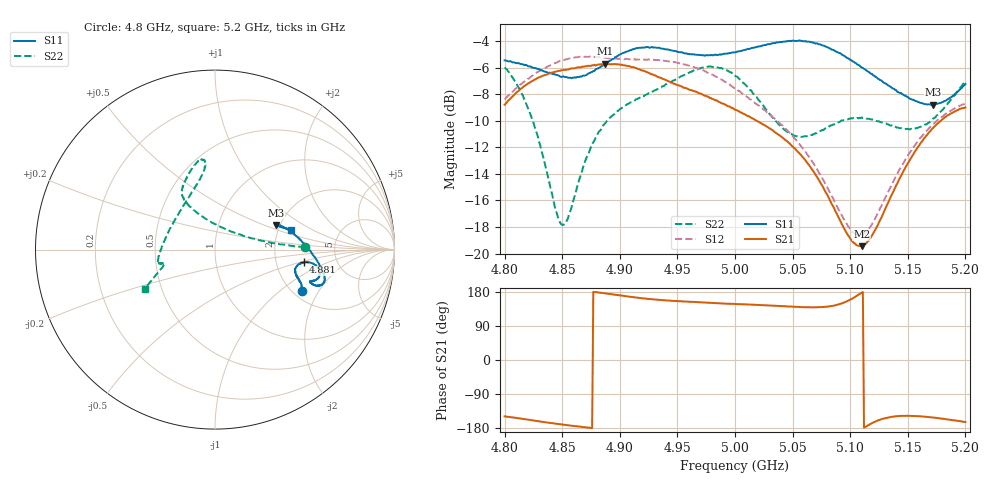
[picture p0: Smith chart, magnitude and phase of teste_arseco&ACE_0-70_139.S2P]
! Network Analyzer HP8722D
! Hewlett-Packard
! Data name: Linha & Wilkinson
! Saver's name: Rodrigo Anjos
! Comments: Teste da utilização de aquisição
! continua pelo VNA HP8722D
! Time and date: 8/5/2025 13:55
!  Frequency  S11  S21  S12  S22
# HZ  S  MA R 50
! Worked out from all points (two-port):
!   401 points, 4.8 GHz to 5.2 GHz, reference 50 ohm
!   highest |S21| = -5.69 dB at 4.887 GHz (marker M1); lowest = -19.4 dB at 5.11 GHz (marker M2)
!   |S21| within 3 dB of the highest: 4.801 GHz to 4.989 GHz (188.2 MHz wide, 3.84 % of centre)
!   lowest |S11| = -8.8 dB at 5.172 GHz (marker M3), VSWR 2.15, Z = 94.9 + j29.9 ohm
!   |S11| at or under -10 dB: nowhere
!   |S22| runs from -17.8 to -5.9 dB; largest |S21 - S12| = 1.1
!   S11 on the Smith chart (normalised r, x): 4.8 GHz: 2.24, -1.43; 4.881 GHz: 2.88, -0.54; 5.2 GHz: 2.33, +0.64
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4.8e9  0.535 -25.3  0.364 -148.8  0.3812 10.6  0.5034 1.6
4.812e9  0.5228 -22.4  0.41 -153.8  0.4277 8.7  0.4241 2.7
4.823e9  0.5058 -20.7  0.4451 -158.7  0.4648 7.5  0.3294 6.2
4.849e9  0.4635 -16.0  0.4908 -170.0  0.5343 3.1  0.1291 58.5
4.855e9  0.4603 -14.4  0.4948 -172.4  0.5418 2.1  0.1359 84.9
4.867e9  0.4651 -11.1  0.5064 -176.5  0.5498 0.5  0.2029 112.4
4.881e9  0.4991 -8.1  0.5159 178.5  0.5508 -0.8  0.2835 120.9
4.887e9  0.5206 -7.7  0.5196 176.0  0.5487 -0.9  0.3089 121.8
4.913e9  0.5915 -11.0  0.5024 165.4  0.5417 -0.6  0.3776 119.0
4.934e9  0.5976 -15.5  0.4625 158.6  0.5366 -1.6  0.4201 113.1
4.975e9  0.5598 -18.7  0.3929 151.3  0.4861 -4.9  0.504 99.2
5e9  0.5743 -19.4  0.3487 147.7  0.42 -5.2  0.4684 96.8
5.017e9  0.5988 -19.4  0.3202 145.7  0.3704 -2.7  0.3969 102.8
5.045e9  0.6322 -17.4  0.2655 141.4  0.2922 3.2  0.2887 133.1
5.067e9  0.6254 -13.5  0.2072 139.0  0.2224 9.4  0.2794 164.5
5.099e9  0.5422 -2.4  0.1159 157.4  0.1255 38.8  0.3227 -169.9
5.11e9  0.5036 2.8  0.1066 177.7  0.1175 60.8  0.3259 -167.0
5.118e9  0.4763 6.6  0.1152 -168.0  0.127 76.2  0.3204 -166.1
5.134e9  0.4286 14.6  0.1591 -151.0  0.1741 94.6  0.3053 -165.8
5.154e9  0.3804 21.0  0.2339 -147.5  0.2491 101.5  0.2944 -164.1
5.172e9  0.3645 22.0  0.2975 -151.8  0.3079 102.6  0.3228 -160.0
5.2e9  0.4357 14.8  0.3556 -163.6  0.3682 102.9  0.4489 -150.5
